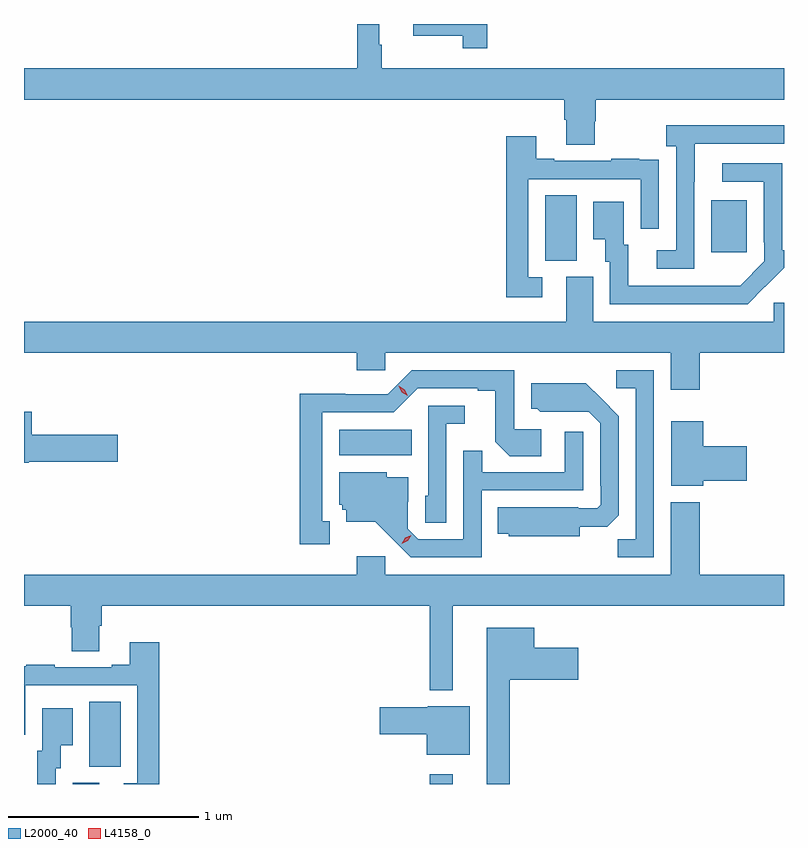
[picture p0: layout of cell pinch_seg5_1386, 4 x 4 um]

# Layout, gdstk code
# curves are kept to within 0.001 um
import gdstk
lib = gdstk.Library(unit=1e-6, precision=1e-09)
def R(c, l, rs):  # rectangles x0, y0, x1, y1
    for r in rs: c.add(gdstk.rectangle(r[:2], r[2:], *l))
def P(c, l, *ps):  # polygons
    for p in ps: c.add(gdstk.Polygon(p, *l))
L2000_40 = (2000, 40)
L4158_0 = (4158, 0)

pinch_seg5_1386 = lib.new_cell('pinch_seg5_1386')
R(pinch_seg5_1386, L2000_40, [(159.281,905.106,159.421,905.112), (161.16,905.106,161.281,905.158), (159.368,905.197,159.532,905.54), (160.682,906.836,161.066,906.97), (161.768,907.861,161.932,908.204), (162.641,907.905,162.829,908.179)])
P(pinch_seg5_1386, L2000_40, [(161.462,909.106),(161.072,909.106),(161.072,909.044),(161.334,909.044),(161.334,908.979),(161.462,908.979)],
  [(162.027,908.595),(162.032,908.595),(162.032,908.708),(163.024,908.708),(163.024,908.872),(160.906,908.872),(160.906,908.996),(160.894,908.996),(160.894,909.106),(160.777,909.106),(160.777,908.872),(159.024,908.872),(159.024,908.708),(161.867,908.708),(161.867,908.602),(161.879,908.602),(161.879,908.47),(162.027,908.47)],
  [(162.552,908.275),(162.553,908.275),(162.553,908.475),(163.024,908.475),(163.024,908.572),(162.405,908.572),(162.405,908.462),(162.456,908.462),(162.456,907.914),(162.354,907.914),(162.354,907.818),(162.552,907.818)],
  [(161.752,907.773),(161.679,907.773),(161.679,908.289),(162.27,908.289),(162.27,908.028),(162.366,908.028),(162.366,908.282),(162.365,908.282),(162.365,908.391),(162.263,908.391),(162.263,908.398),(162.115,908.398),(162.115,908.385),(161.815,908.385),(161.815,908.398),(161.719,908.398),(161.719,908.515),(161.563,908.515),(161.563,907.668),(161.752,907.668)],
  [(162.923,907.723),(162.924,907.722),(163.024,907.822),(163.024,907.915),(163.014,907.915),(163.014,908.373),(162.699,908.373),(162.699,908.277),(162.918,908.277),(162.918,907.957),(162.921,907.957),(162.921,907.857),(162.793,907.729),(162.205,907.728),(162.205,907.944),(162.181,907.944),(162.181,908.17),(162.02,908.17),(162.02,907.973),(162.083,907.973),(162.083,907.854),(162.108,907.854),(162.108,907.632),(162.832,907.632)],
  [(162.581,907.376),(163.024,907.376),(163.024,907.638),(162.969,907.638),(162.969,907.54),(162.019,907.54),(162.019,907.776),(161.879,907.776),(161.879,907.54),(159.024,907.54),(159.024,907.376),(160.775,907.376),(160.775,907.283),(160.926,907.283),(160.926,907.376),(162.428,907.376),(162.428,907.182),(162.581,907.182)],
  [(160.633,906.489),(160.594,906.489),(160.594,907.062),(160.971,907.062),(161.097,907.188),(161.411,907.188),(161.411,907.176),(161.505,907.176),(161.505,906.908),(161.581,906.832),(161.746,906.832),(161.746,906.972),(161.604,906.972),(161.604,907.284),(161.064,907.284),(160.938,907.158),(160.716,907.158),(160.716,907.16),(160.476,907.16),(160.476,906.369),(160.633,906.369)],
  [(162.339,907.284),(162.141,907.284),(162.141,907.188),(162.243,907.188),(162.243,906.395),(162.148,906.395),(162.148,906.3),(162.339,906.3)],
  [(161.95,906.461),(162.094,906.461),(162.153,906.52),(162.153,907.042),(161.981,907.216),(161.693,907.216),(161.693,907.08),(161.724,907.08),(161.74,907.064),(161.997,907.065),(162.057,907.005),(162.057,906.676),(162.06,906.676),(162.06,906.576),(162.042,906.558),(161.942,906.558),(161.942,906.562),(161.518,906.562),(161.518,906.422),(161.574,906.422),(161.574,906.41),(161.95,906.41)],
  [(161.247,907.001),(161.344,907.001),(161.344,907.098),(161.151,907.098),(161.151,906.624),(161.136,906.624),(161.136,906.481),(161.247,906.481)],
  [(159.048,906.803),(159.517,906.803),(159.517,906.945),(159.065,906.945),(159.065,907.066),(159.024,907.066),(159.024,906.797),(159.048,906.797)],
  [(162.598,906.701),(162.829,906.701),(162.829,906.884),(162.598,906.884),(162.598,907.015),(162.431,907.015),(162.431,906.677),(162.598,906.677)],
  [(161.433,906.651),(161.967,906.651),(161.967,906.961),(161.871,906.961),(161.871,906.747),(161.435,906.747),(161.435,906.86),(161.337,906.86),(161.337,906.393),(161.1,906.393),(161.043,906.45),(161.043,906.592),(161.047,906.592),(161.047,906.721),(160.932,906.721),(160.932,906.748),(160.682,906.748),(160.682,906.576),(160.698,906.576),(160.698,906.549),(160.721,906.549),(160.721,906.485),(160.873,906.485),(161.06,906.3),(161.433,906.3)],
  [(161.281,906.044),(163.024,906.044),(163.024,906.208),(162.581,906.208),(162.581,906.589),(162.428,906.589),(162.428,906.208),(160.926,906.208),(160.926,906.304),(160.775,906.304),(160.775,906.208),(159.024,906.208),(159.024,906.044),(159.269,906.044),(159.269,905.931),(159.274,905.931),(159.274,905.806),(159.421,905.806),(159.421,905.938),(159.434,905.938),(159.434,906.044),(161.16,906.044),(161.16,905.6),(161.281,905.6)],
  [(161.581,905.654),(161.941,905.654),(161.941,905.824),(161.71,905.824),(161.71,905.929),(161.459,905.929),(161.459,905.106),(161.581,905.106)],
  [(159.737,905.851),(159.581,905.851),(159.581,905.734),(159.485,905.734),(159.485,905.721),(159.185,905.721),(159.185,905.734),(159.037,905.734),(159.037,905.727),(159.024,905.727),(159.024,905.364),(159.03,905.364),(159.03,905.625),(159.621,905.625),(159.621,905.109),(159.549,905.109),(159.549,905.106),(159.737,905.106)],
  [(161.371,905.515),(161.148,905.515),(161.148,905.51),(160.896,905.51),(160.896,905.368),(161.144,905.368),(161.144,905.261),(161.371,905.261)],
  [(159.192,905.19),(159.217,905.19),(159.217,905.309),(159.28,905.309),(159.28,905.506),(159.119,905.506),(159.119,905.28),(159.095,905.28),(159.095,905.106),(159.192,905.106)])
P(pinch_seg5_1386, L4158_0, [(161.012,906.371),(161.012,906.371),(161.03,906.401),(161.061,906.416),(161.061,906.416),(161.061,906.415),(161.043,906.386),(161.012,906.371)],
  [(161.045,907.149),(161.013,907.168),(160.996,907.201),(160.996,907.201),(160.996,907.201),(161.027,907.182),(161.045,907.149),(161.045,907.149)])

lib.write_gds('pinch_seg5_1386.gds')
